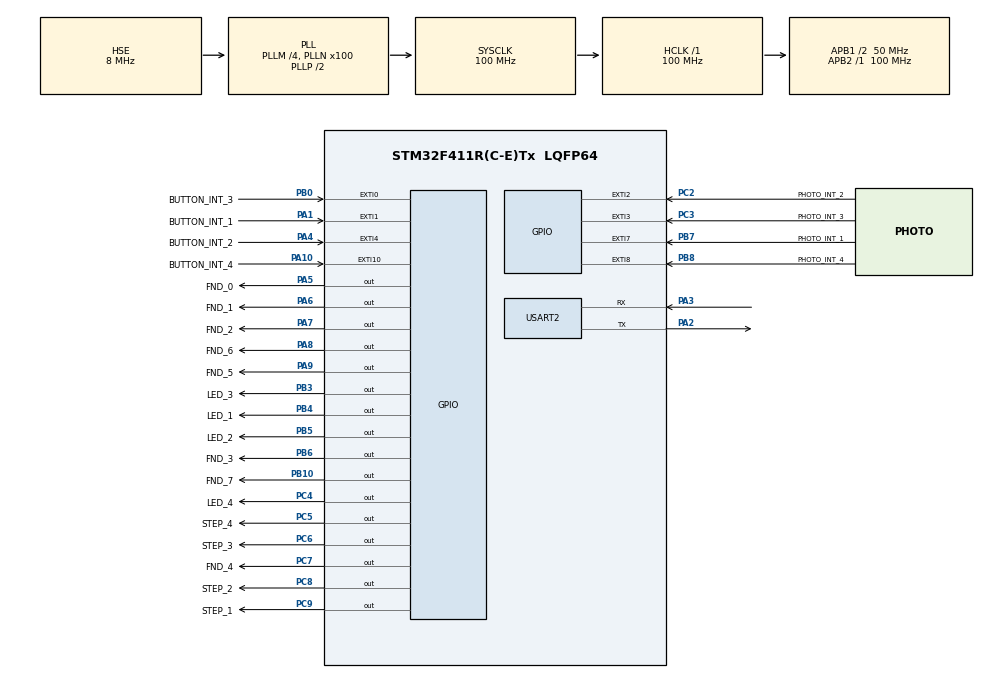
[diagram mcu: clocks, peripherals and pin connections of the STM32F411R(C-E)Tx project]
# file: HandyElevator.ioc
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Mcu.Family=STM32F4
Mcu.Name=STM32F411R(C-E)Tx
Mcu.Package=LQFP64
NVIC.EXTI0_IRQn=true\:0\:0\:false\:false\:true\:true\:true\:true
NVIC.EXTI15_10_IRQn=true\:0\:0\:false\:false\:true\:true\:true\:true
NVIC.EXTI1_IRQn=true\:0\:0\:false\:false\:true\:true\:true\:true
NVIC.EXTI2_IRQn=true\:0\:0\:false\:false\:true\:true\:true\:true
NVIC.EXTI3_IRQn=true\:0\:0\:false\:false\:true\:true\:true\:true
NVIC.EXTI4_IRQn=true\:0\:0\:false\:false\:true\:true\:true\:true
NVIC.EXTI9_5_IRQn=true\:0\:0\:false\:false\:true\:true\:true\:true
NVIC.PriorityGroup=NVIC_PRIORITYGROUP_4
PA1.GPIO_Label=BUTTON_INT_1
PA1.GPIO_ModeDefaultEXTI=GPIO_MODE_IT_FALLING
PA1.Signal=GPXTI1
PA10.GPIO_Label=BUTTON_INT_4
PA10.GPIO_ModeDefaultEXTI=GPIO_MODE_IT_FALLING
PA10.GPIO_PuPd=GPIO_NOPULL
PA10.Signal=GPXTI10
PA13.Mode=Serial_Wire
PA13.Signal=SYS_JTMS-SWDIO
PA14.Mode=Serial_Wire
PA14.Signal=SYS_JTCK-SWCLK
PA2.Mode=Asynchronous
PA2.Signal=USART2_TX
PA3.Mode=Asynchronous
PA3.Signal=USART2_RX
PA4.GPIO_Label=BUTTON_INT_2
PA4.GPIO_ModeDefaultEXTI=GPIO_MODE_IT_FALLING
PA4.GPIO_PuPd=GPIO_NOPULL
PA4.Signal=GPXTI4
PA5.GPIO_Label=FND_0
PA5.Signal=GPIO_Output
PA6.GPIO_Label=FND_1
PA6.Signal=GPIO_Output
PA7.GPIO_Label=FND_2
PA7.Signal=GPIO_Output
PA8.GPIO_Label=FND_6
PA8.Signal=GPIO_Output
PA9.GPIO_Label=FND_5
PA9.Signal=GPIO_Output
PB0.GPIO_Label=BUTTON_INT_3
PB0.GPIO_ModeDefaultEXTI=GPIO_MODE_IT_FALLING
PB0.GPIO_PuPd=GPIO_NOPULL
PB0.Signal=GPXTI0
PB10.GPIO_Label=FND_7
PB10.Signal=GPIO_Output
PB3.GPIO_Label=LED_3
PB3.Signal=GPIO_Output
PB4.GPIO_Label=LED_1
PB4.Signal=GPIO_Output
PB5.GPIO_Label=LED_2
PB5.Signal=GPIO_Output
PB6.GPIO_Label=FND_3
PB6.Signal=GPIO_Output
PB7.GPIO_Label=PHOTO_INT_1
PB7.GPIO_ModeDefaultEXTI=GPIO_MODE_IT_FALLING
PB7.Signal=GPXTI7
PB8.GPIO_Label=PHOTO_INT_4
PB8.GPIO_ModeDefaultEXTI=GPIO_MODE_IT_FALLING
PB8.Signal=GPXTI8
PC2.GPIO_Label=PHOTO_INT_2
PC2.GPIO_ModeDefaultEXTI=GPIO_MODE_IT_RISING
PC2.Signal=GPXTI2
PC3.GPIO_Label=PHOTO_INT_3
PC3.GPIO_ModeDefaultEXTI=GPIO_MODE_IT_RISING
PC3.Signal=GPXTI3
PC4.GPIO_Label=LED_4
PC4.Signal=GPIO_Output
PC5.GPIO_Label=STEP_4
PC5.Signal=GPIO_Output
PC6.GPIO_Label=STEP_3
PC6.Signal=GPIO_Output
PC7.GPIO_Label=FND_4
PC7.Signal=GPIO_Output
PC8.GPIO_Label=STEP_2
PC8.Signal=GPIO_Output
PC9.GPIO_Label=STEP_1
PC9.Signal=GPIO_Output
PH0\ -\ OSC_IN.Mode=HSE-External-Oscillator
PH0\ -\ OSC_IN.Signal=RCC_OSC_IN
PH1\ -\ OSC_OUT.Mode=HSE-External-Oscillator
PH1\ -\ OSC_OUT.Signal=RCC_OSC_OUT
ProjectManager.HeapSize=0x200
ProjectManager.StackSize=0x400
ProjectManager.TargetToolchain=STM32CubeIDE
RCC.48MHZClocksFreq_Value=50000000
RCC.AHBFreq_Value=100000000
RCC.APB1CLKDivider=RCC_HCLK_DIV2
RCC.APB1Freq_Value=50000000
RCC.APB1TimFreq_Value=100000000
RCC.APB2Freq_Value=100000000
RCC.APB2TimFreq_Value=100000000
RCC.CortexFreq_Value=100000000
RCC.HCLKFreq_Value=100000000
RCC.HSE_VALUE=8000000
RCC.HSI_VALUE=16000000
RCC.LSE_VALUE=32768
RCC.PLLM=4
RCC.PLLN=100
RCC.PLLSourceVirtual=RCC_PLLSOURCE_HSE
RCC.SYSCLKFreq_VALUE=100000000
RCC.SYSCLKSource=RCC_SYSCLKSOURCE_PLLCLK
RCC.VCOOutputFreq_Value=200000000
TIM10.Prescaler=99
USART2.VirtualMode=VM_ASYNC
VP_TIM10_VS_ClockSourceINT.Mode=Enable_Timer
board=custom

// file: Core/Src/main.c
/* USER CODE BEGIN Header */
/**
  ******************************************************************************
  * @file           : main.c
  * @brief          : Main program body
  ******************************************************************************
  * @attention
  *
  * Copyright (c) 2024 STMicroelectronics.
  * All rights reserved.
  *
  * This software is licensed under terms that can be found in the LICENSE file
  * in the root directory of this software component.
  * If no LICENSE file comes with this software, it is provided AS-IS.
  *
  ******************************************************************************
  */
/* USER CODE END Header */
#include "main.h"
#include "tim.h"
#include "usart.h"
#include "gpio.h"

/* USER CODE BEGIN Includes */
#include "ap.h"
/* USER CODE END Includes */

/* USER CODE BEGIN PV */
extern uint8_t currentFloor;
extern bool floorQueue[4];
/* USER CODE END PV */

void SystemClock_Config(void);
/* USER CODE BEGIN PFP */
void HAL_GPIO_EXTI_Callback(uint16_t GPIO_Pin)
{
	switch (GPIO_Pin){

//		BUTTON - NEXT FLOOR
		case BUTTON_INT_1_Pin :
				HE_enqueue(FLOOR_1);
			break;
		case BUTTON_INT_2_Pin :
				HE_enqueue(FLOOR_2);
			break;
		case BUTTON_INT_3_Pin :
				HE_enqueue(FLOOR_3);
			break;
		case BUTTON_INT_4_Pin :
				HE_enqueue(FLOOR_4);
			break;

//		PHOTO - CURRENT FLOOR
		case PHOTO_INT_1_Pin :
				HE_dequeue(FLOOR_1);
				currentFloor = FLOOR_1;
			break;
		case PHOTO_INT_2_Pin :
				HE_dequeue(FLOOR_2);
				currentFloor = FLOOR_2;
			break;
		case PHOTO_INT_3_Pin :
				HE_dequeue(FLOOR_3);
				currentFloor = FLOOR_3;
			break;
		case PHOTO_INT_4_Pin :
				HE_dequeue(FLOOR_4);
				currentFloor = FLOOR_4;
			break;

//		DEFAULT
		default :
			break;
	};
	HE_ledControl();
	HE_searchNearestFloor();
}
/* USER CODE END PFP */

int main(void)
{

  /* MCU Configuration--------------------------------------------------------*/

  /* Reset of all peripherals, Initializes the Flash interface and the Systick. */
  HAL_Init();

  /* Configure the system clock */
  SystemClock_Config();

  /* Initialize all configured peripherals */
  MX_GPIO_Init();
  MX_USART2_UART_Init();
  MX_TIM10_Init();
  /* USER CODE BEGIN 2 */
  AP_setup();
  AP_loop();
  /* USER CODE END 2 */

  /* Infinite loop */
  while (1)
  {

  }
}

void SystemClock_Config(void)
{
  RCC_OscInitTypeDef RCC_OscInitStruct = {0};
  RCC_ClkInitTypeDef RCC_ClkInitStruct = {0};

  /** Configure the main internal regulator output voltage
  */
  __HAL_RCC_PWR_CLK_ENABLE();
  __HAL_PWR_VOLTAGESCALING_CONFIG(PWR_REGULATOR_VOLTAGE_SCALE1);

  /** Initializes the RCC Oscillators according to the specified parameters
  * in the RCC_OscInitTypeDef structure.
  */
  RCC_OscInitStruct.OscillatorType = RCC_OSCILLATORTYPE_HSE;
  RCC_OscInitStruct.HSEState = RCC_HSE_ON;
  RCC_OscInitStruct.PLL.PLLState = RCC_PLL_ON;
  RCC_OscInitStruct.PLL.PLLSource = RCC_PLLSOURCE_HSE;
  RCC_OscInitStruct.PLL.PLLM = 4;
  RCC_OscInitStruct.PLL.PLLN = 100;
  RCC_OscInitStruct.PLL.PLLP = RCC_PLLP_DIV2;
  RCC_OscInitStruct.PLL.PLLQ = 4;
  if (HAL_RCC_OscConfig(&RCC_OscInitStruct) != HAL_OK)
  {
    Error_Handler();
  }

  /** Initializes the CPU, AHB and APB buses clocks
  */
  RCC_ClkInitStruct.ClockType = RCC_CLOCKTYPE_HCLK|RCC_CLOCKTYPE_SYSCLK
                              |RCC_CLOCKTYPE_PCLK1|RCC_CLOCKTYPE_PCLK2;
  RCC_ClkInitStruct.SYSCLKSource = RCC_SYSCLKSOURCE_PLLCLK;
  RCC_ClkInitStruct.AHBCLKDivider = RCC_SYSCLK_DIV1;
  RCC_ClkInitStruct.APB1CLKDivider = RCC_HCLK_DIV2;
  RCC_ClkInitStruct.APB2CLKDivider = RCC_HCLK_DIV1;

  if (HAL_RCC_ClockConfig(&RCC_ClkInitStruct, FLASH_LATENCY_3) != HAL_OK)
  {
    Error_Handler();
  }
}

void Error_Handler(void)
{
  __disable_irq();
  while (1)
  {
  }
}
